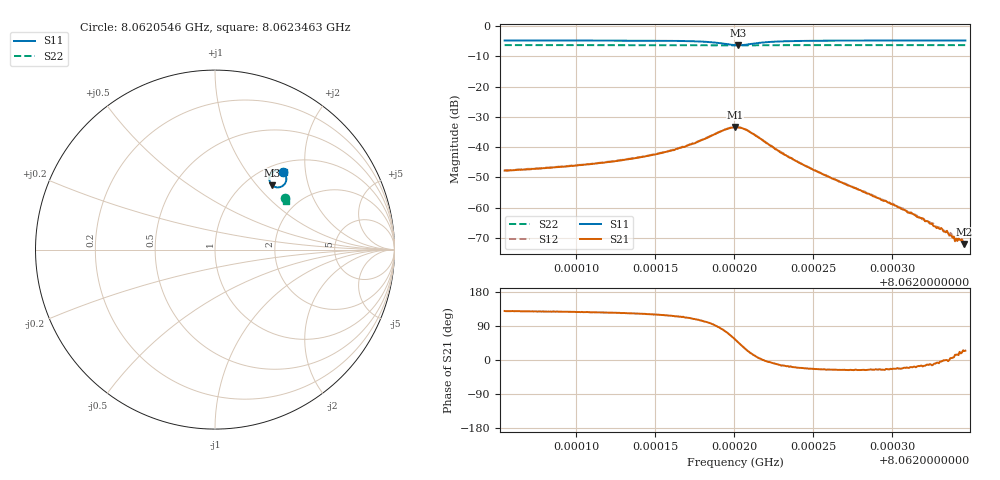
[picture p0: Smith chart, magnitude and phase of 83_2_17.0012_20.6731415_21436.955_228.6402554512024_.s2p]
#  HZ  S  RI  R  50.00
! Rohde & Schwarz Vector Network Analyzer
! Rohde-Schwarz,ZNB20-2Port,1311601062101988,3.16
! Created: UTC 3/20/2024, 10:55:48 PM
! freq[Hz]  re:S11  im:S11  re:S21  im:S21  re:S12  im:S12  re:S22  im:S22
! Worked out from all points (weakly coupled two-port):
!   401 points, 8.0620546 GHz to 8.0623463 GHz, reference 50 ohm
!   highest |S21| = -33.38 dB at 8.0622005 GHz (marker M1); lowest = -71.9 dB at 8.0623456 GHz (marker M2)
!   lowest |S11| = -6.4 dB at 8.0622027 GHz (marker M3), VSWR 2.84, Z = 64.8 + j60.4 ohm
!   |S11| at or under -10 dB: nowhere
!   |S22| runs from -6.4 to -6.3 dB; largest |S21 - S12| = 0.0016
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8.06205465e9  0.3805 0.4316  -0.0026 0.00318  -0.00241 0.00335  0.3877 0.287
8.0621035e9  0.3859 0.4256  -0.00305 0.00406  -0.00281 0.0043  0.3894 0.2844
8.06212464e9  0.3892 0.4213  -0.00334 0.00484  -0.00312 0.00512  0.39 0.2832
8.06215235e9  0.3943 0.4113  -0.00384 0.00686  -0.00348 0.00714  0.391 0.2813
8.06216912e9  0.3973 0.3984  -0.00382 0.00951  -0.00331 0.00995  0.3914 0.2799
8.06218516e9  0.3914 0.3707  -0.00176 0.0151  -0.000647 0.0153  0.3913 0.2782
8.06219463e9  0.3635 0.3485  0.00517 0.0189  0.00649 0.0188  0.39 0.2773
8.06220047e9  0.3299 0.3511  0.0125 0.0174  0.0136 0.0166  0.3887 0.2777
8.06220265e9  0.318 0.359  0.0148 0.0152  0.0159 0.0143  0.3885 0.2781
8.06220922e9  0.3026 0.3949  0.0169 0.00687  0.0174 0.00568  0.3886 0.2795
8.06221942e9  0.3202 0.4308  0.0122 -0.000491  0.0123 -0.00122  0.3903 0.2803
8.06223036e9  0.3402 0.4403  0.00766 -0.00194  0.00769 -0.00248  0.3915 0.2799
8.06224932e9  0.3584 0.4407  0.00399 -0.0017  0.0039 -0.00199  0.393 0.2786
8.06229817e9  0.375 0.4348  0.0011 -0.000513  0.00109 -0.00055  0.395 0.2759
8.06231858e9  0.3783 0.4326  0.000653 -0.000173  0.000607 -0.000231  0.3959 0.2749
8.06232514e9  0.3793 0.4321  0.000535 -0.000133  0.000538 -0.000141  0.396 0.2745
8.06233316e9  0.3803 0.4314  0.000403 -5.65e-06  0.000416 -2.22e-05  0.3963 0.2742
8.06233973e9  0.3811 0.4308  0.000272 6.63e-05  0.000304 4.88e-06  0.3965 0.2738
8.06234118e9  0.3813 0.4307  0.000274 7.16e-05  0.000298 7.28e-05  0.3965 0.2736
8.06234337e9  0.3815 0.4305  0.000279 8.73e-05  0.000274 3.82e-05  0.3966 0.2737
8.06234556e9  0.3817 0.4303  0.000232 0.000101  0.000221 7.26e-05  0.3967 0.2736
8.06234629e9  0.3818 0.4303  0.000245 0.000113  0.00024 0.000113  0.3967 0.2735
